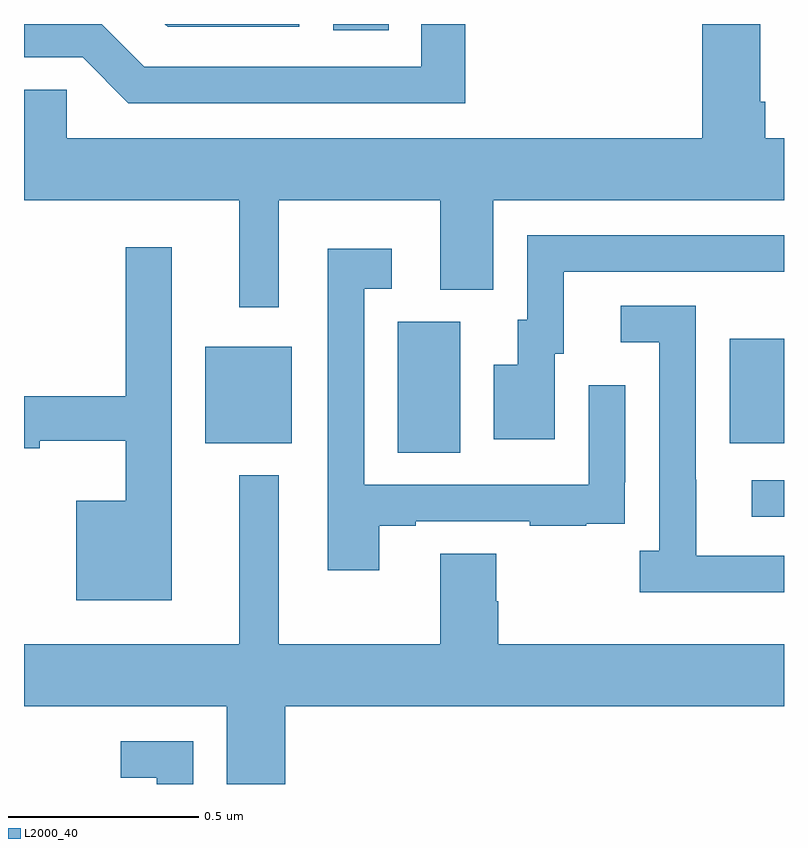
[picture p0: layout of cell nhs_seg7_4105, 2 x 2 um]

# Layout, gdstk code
import gdstk
lib = gdstk.Library(unit=1e-6, precision=1e-09)
def R(c, l, rs):  # rectangles x0, y0, x1, y1
    for r in rs: c.add(gdstk.rectangle(r[:2], r[2:], *l))
def P(c, l, *ps):  # polygons
    for p in ps: c.add(gdstk.Polygon(p, *l))
L2000_40 = (2000, 40)

nhs_seg7_4105 = lib.new_cell('nhs_seg7_4105')
R(nhs_seg7_4105, L2000_40, [(168.915,1079.703,169,1079.799), (167.984,1079.872,168.148,1080.216), (167.477,1079.897,167.704,1080.151), (168.857,1079.897,169,1080.172), (167.814,1080.984,167.96,1081)])
P(nhs_seg7_4105, L2000_40, [(167.671,1080.536),(168.095,1080.536),(168.095,1080.301),(168.235,1080.301),(168.235,1080.536),(169,1080.536),(169,1080.7),(168.95,1080.7),(168.95,1080.796),(168.937,1080.796),(168.937,1081),(168.785,1081),(168.785,1080.7),(167.112,1080.7),(167.112,1080.827),(167,1080.827),(167,1080.536),(167.567,1080.536),(167.567,1080.255),(167.671,1080.255)],
  [(167.724,1081),(167.371,1081),(167.378,1080.993),(167.724,1080.993)],
  [(168.161,1081),(168.045,1081),(168.045,1080.888),(167.316,1080.888),(167.204,1081),(167,1081),(167,1080.912),(167.154,1080.912),(167.274,1080.792),(168.161,1080.792)],
  [(168.397,1080.132),(168.421,1080.132),(168.421,1080.348),(169,1080.348),(169,1080.444),(168.324,1080.444),(168.324,1080.222),(168.299,1080.222),(168.299,1080.103),(168.236,1080.103),(168.236,1079.907),(168.397,1079.907)],
  [(167.389,1080.412),(167.268,1080.412),(167.268,1080.02),(167,1080.02),(167,1079.884),(167.042,1079.884),(167.042,1079.903),(167.268,1079.903),(167.268,1079.746),(167.138,1079.746),(167.138,1079.483),(167.389,1079.483)],
  [(167.935,1079.679),(168.031,1079.679),(168.031,1079.691),(168.331,1079.691),(168.331,1079.679),(168.479,1079.679),(168.479,1079.685),(168.581,1079.685),(168.581,1079.794),(168.582,1079.794),(168.582,1080.049),(168.486,1080.049),(168.486,1079.787),(167.895,1079.787),(167.895,1080.303),(167.968,1080.303),(167.968,1080.409),(167.799,1080.409),(167.799,1079.562),(167.935,1079.562)],
  [(169,1079.601),(168.769,1079.601),(168.769,1079.801),(168.768,1079.801),(168.768,1080.258),(168.57,1080.258),(168.57,1080.162),(168.672,1080.162),(168.672,1079.614),(168.621,1079.614),(168.621,1079.504),(169,1079.504)],
  [(167.687,1079.204),(169,1079.204),(169,1079.368),(168.248,1079.368),(168.248,1079.481),(168.243,1079.481),(168.243,1079.606),(168.095,1079.606),(168.095,1079.368),(167.671,1079.368),(167.671,1079.812),(167.567,1079.812),(167.567,1079.368),(167,1079.368),(167,1079.204),(167.534,1079.204),(167.534,1079),(167.687,1079)],
  [(167.445,1079.112),(167.254,1079.112),(167.254,1079.017),(167.349,1079.017),(167.349,1079),(167.445,1079)])

lib.write_gds('nhs_seg7_4105.gds')
